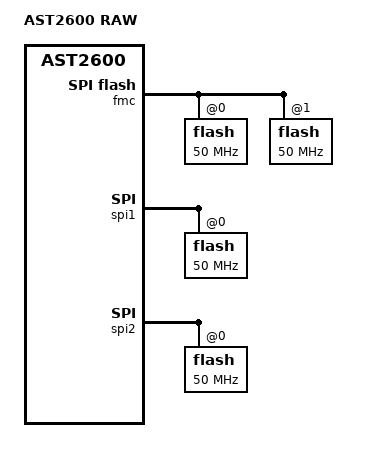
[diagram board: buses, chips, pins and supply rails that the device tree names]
// SPDX-License-Identifier: GPL-2.0+
// Copyright 2023 Aspeed Technology Inc.
/dts-v1/;

#include "ast2600-evb.dts"

/ {
	model = "AST2600 RAW";
};

&fmc {
	status = "okay";

	pinctrl-names = "default";
	pinctrl-0 = <&pinctrl_fmcquad_default>;

	flash@0 {
		status = "okay";
		spi-max-frequency = <50000000>;
		spi-tx-bus-width = <2>;
		spi-rx-bus-width = <2>;
	};

	flash@1 {
		status = "okay";
		spi-max-frequency = <50000000>;
		spi-tx-bus-width = <2>;
		spi-rx-bus-width = <2>;
	};

	flash@2 {
		status = "disabled";
		spi-max-frequency = <50000000>;
		spi-tx-bus-width = <2>;
		spi-rx-bus-width = <2>;
	};
};

&spi1 {
	status = "okay";

	pinctrl-names = "default";
	pinctrl-0 = <&pinctrl_spi1_default &pinctrl_spi1abr_default
			&pinctrl_spi1cs1_default &pinctrl_spi1wp_default
			&pinctrl_spi1wp_default &pinctrl_spi1quad_default>;

	flash@0 {
		status = "okay";
		spi-max-frequency = <50000000>;
		spi-tx-bus-width = <2>;
		spi-rx-bus-width = <2>;
	};

	flash@1 {
		status = "disabled";
		spi-max-frequency = <50000000>;
		spi-tx-bus-width = <2>;
		spi-rx-bus-width = <2>;
	};
};

&spi2 {
	status = "okay";

	pinctrl-names = "default";
	pinctrl-0 = <&pinctrl_spi2_default &pinctrl_spi2cs1_default
			&pinctrl_spi2cs2_default &pinctrl_spi2quad_default>;

	flash@0 {
		status = "okay";
		spi-max-frequency = <50000000>;
		spi-tx-bus-width = <2>;
		spi-rx-bus-width = <2>;
	};

	flash@1 {
		status = "disabled";
		spi-max-frequency = <50000000>;
		spi-tx-bus-width = <2>;
		spi-rx-bus-width = <2>;
	};

	flash@2 {
		status = "disabled";
		spi-max-frequency = <50000000>;
		spi-tx-bus-width = <2>;
		spi-rx-bus-width = <2>;
	};
};

&emmc {
	status = "disabled";
};

&emmc_slot0 {
	status = "disabled";
};

&sdhci {
	status = "disabled";
};

&sdhci_slot0 {
	status = "disabled";
};

&sdhci_slot1 {
	status = "disabled";
};

&pcie_phy1 {
	status = "disabled";
};

&pcie_bridge {
	status = "disabled";
};

&ehci1 {
	status = "disabled";
};

